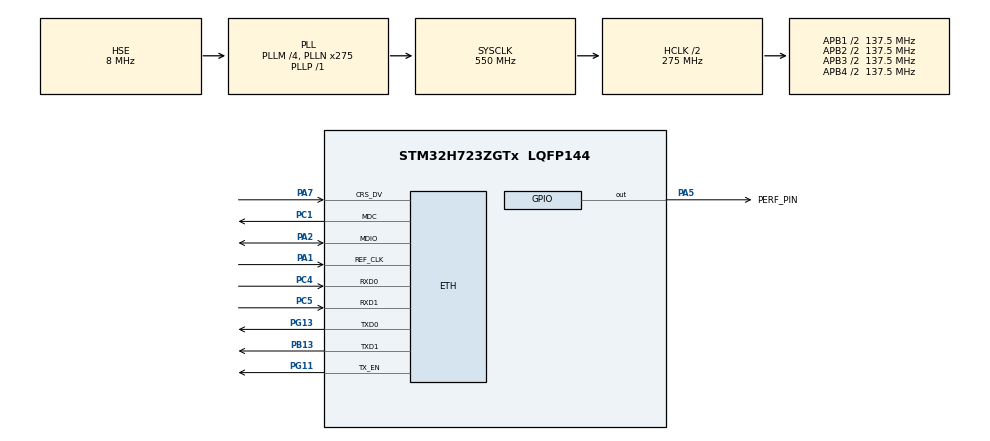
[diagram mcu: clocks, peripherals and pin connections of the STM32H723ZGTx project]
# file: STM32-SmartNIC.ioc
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CORTEX_M7.AccessPermission_S-Cortex_Memory_Protection_Unit_Region1_Settings_S=MPU_REGION_FULL_ACCESS
CORTEX_M7.BaseAddress_S-Cortex_Memory_Protection_Unit_Region1_Settings_S=0x30000000
CORTEX_M7.CPU_DCache=Enabled
CORTEX_M7.CPU_ICache=Enabled
CORTEX_M7.DisableExec_S-Cortex_Memory_Protection_Unit_Region1_Settings_S=MPU_INSTRUCTION_ACCESS_DISABLE
CORTEX_M7.Enable_S-Cortex_Memory_Protection_Unit_Region1_Settings_S=MPU_REGION_ENABLE
CORTEX_M7.Size_S-Cortex_Memory_Protection_Unit_Region1_Settings_S=MPU_REGION_SIZE_32KB
CORTEX_M7.TypeExtField_S-Cortex_Memory_Protection_Unit_Region1_Settings_S=MPU_TEX_LEVEL1
CORTEX_M7.default_mode_Activation=1
ETH.MediaInterface=HAL_ETH_RMII_MODE
Mcu.Family=STM32H7
Mcu.Name=STM32H723ZGTx
Mcu.Package=LQFP144
NUCLEO-H723ZG.BUTTON=1
NUCLEO-H723ZG.LD1=true
NUCLEO-H723ZG.LD2=true
NUCLEO-H723ZG.LD3=true
NUCLEO-H723ZG.VCP=true
NVIC.ETH_IRQn=true\:0\:0\:false\:false\:true\:true\:true\:true
NVIC.EXTI15_10_IRQn=true\:0\:0\:false\:false\:true\:false\:true\:true
NVIC.PriorityGroup=NVIC_PRIORITYGROUP_4
PA1.Mode=RMII
PA1.Signal=ETH_REF_CLK
PA13(JTMS/SWDIO).GPIO_Label=SWDIO
PA13(JTMS/SWDIO).Signal=DEBUG_JTMS-SWDIO
PA14(JTCK/SWCLK).GPIO_Label=SWCLK
PA14(JTCK/SWCLK).Signal=DEBUG_JTCK-SWCLK
PA2.Mode=RMII
PA2.Signal=ETH_MDIO
PA5.GPIO_Label=PERF_PIN
PA5.GPIO_Speed=GPIO_SPEED_FREQ_VERY_HIGH
PA5.Signal=GPIO_Output
PA7.Mode=RMII
PA7.Signal=ETH_CRS_DV
PG11.Mode=RMII
PG11.Signal=ETH_TX_EN
PG13.Mode=RMII
PG13.Signal=ETH_TXD0
PB13.Mode=RMII
PB13.Signal=ETH_TXD1
PC1.Mode=RMII
PC1.Signal=ETH_MDC
PC14-OSC32_IN.Signal=RCC_OSC32_IN
PC15-OSC32_OUT.Signal=RCC_OSC32_OUT
PC4.Mode=RMII
PC4.Signal=ETH_RXD0
PC5.Mode=RMII
PC5.Signal=ETH_RXD1
PD8.Signal=USART3_TX
PD9.Signal=USART3_RX
PH0-OSC_IN.Mode=HSE-External-Oscillator
PH0-OSC_IN.Signal=RCC_OSC_IN
PH1-OSC_OUT.Mode=HSE-External-Oscillator
PH1-OSC_OUT.Signal=RCC_OSC_OUT
ProjectManager.HeapSize=0x200
ProjectManager.StackSize=0x400
ProjectManager.TargetToolchain=STM32CubeIDE
RCC.ADCFreq_Value=76000000
RCC.APB1Freq_Value=137500000
RCC.APB2Freq_Value=137500000
RCC.APB3Freq_Value=137500000
RCC.APB4Freq_Value=137500000
RCC.CortexFreq_Value=550000000
RCC.D1PPRE=RCC_APB3_DIV2
RCC.D2PPRE1=RCC_APB1_DIV2
RCC.D2PPRE2=RCC_APB2_DIV2
RCC.D3PPRE=RCC_APB4_DIV2
RCC.DIVM1=4
RCC.DIVM2=1
RCC.DIVN1=275
RCC.DIVN2=19
RCC.DIVP1=1
RCC.DIVQ1=4
RCC.HCLKFreq_Value=275000000
RCC.HPRE=RCC_HCLK_DIV2
RCC.HSE_VALUE=8000000
RCC.PLLFRACN=0
RCC.PLLSourceVirtual=RCC_PLLSOURCE_HSE
RCC.PWR_Regulator_Voltage_Scale=PWR_REGULATOR_VOLTAGE_SCALE0
RCC.SYSCLKFreq_VALUE=550000000
RCC.SYSCLKSource=RCC_SYSCLKSOURCE_PLLCLK
RCC.USBCLockSelection=RCC_USBCLKSOURCE_HSI48
RCC.USBFreq_Value=48000000
VP_MEMORYMAP_VS_MEMORYMAP.Mode=CurAppReg
VP_NUCLEO-H723ZG_VS_BSP_COMMON.Mode=COMMON
board=NUCLEO-H723ZG

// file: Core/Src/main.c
/* USER CODE BEGIN Header */
/**
  ******************************************************************************
  * @file           : main.c
  * @brief          : Main program body
  ******************************************************************************
  * @attention
  *
  * Copyright (c) 2026 STMicroelectronics.
  * All rights reserved.
  *
  * This software is licensed under terms that can be found in the LICENSE file
  * in the root directory of this software component.
  * If no LICENSE file comes with this software, it is provided AS-IS.
  *
  ******************************************************************************
  */
/* USER CODE END Header */
#include "main.h"
#include "string.h"

/* USER CODE BEGIN Includes */
#include "ring_buffer_test.h"
#include "eth_rx.h"
#include "eth_tx.h"
#include "pkt_reflect.h"
#include "pkt_parse.h"
#include "pkt_filter.h"
#include "filter_policy.h"
#include "perf.h"
#include "uart_log.h"
/* USER CODE END Includes */

/* USER CODE BEGIN PD */
#define STATS_PERIOD_MS   (5000u)   /* how often the filter counters are printed */
#define BUTTON_DEBOUNCE_MS (200u)   /* ignore button bounces closer than this */
/* Most frames one main-loop pass handles before it does its other work
 * (refill, button, stats) and starts a new pass. Without a limit, sustained
 * overload kept main in the RX loop for a whole 10 s burst: the stats print
 * waited, and that pass's 32-bit cycle delta wrapped (Phase 5, step 3b).
 * 16 = the whole pool: at most one full pkt_ring per pass. */
#define MAIN_RX_BUDGET    (ETH_RX_BUF_COUNT)
/* Phase 6: 1 = every UDP frame that passed the filter goes back to its
 * sender (pkt_reflect.c), zero-copy from the same buffer; 0 = consume all
 * frames as before. Build: make ... REFLECT=0 */
#ifndef TX_REFLECT
#define TX_REFLECT        (1)
#endif
/* CPU headroom test: fake work added to every frame, in CPU cycles.
 * 0 = normal firmware. Raise it step by step at line rate until frames
 * are lost: the last value with zero loss = cycles still free per frame. */
#ifndef EXTRA_CYCLES               /* or from the build: -DEXTRA_CYCLES=1000u */
#define EXTRA_CYCLES       (0u)
#endif
/* USER CODE END PD */

#if defined ( __ICCARM__ ) /*!< IAR Compiler */
#pragma location=0x30000000
ETH_DMADescTypeDef  DMARxDscrTab[ETH_RX_DESC_CNT]; /* Ethernet Rx DMA Descriptors */
#pragma location=0x30000080
ETH_DMADescTypeDef  DMATxDscrTab[ETH_TX_DESC_CNT]; /* Ethernet Tx DMA Descriptors */

#elif defined ( __CC_ARM )  /* MDK ARM Compiler */

__attribute__((at(0x30000000))) ETH_DMADescTypeDef  DMARxDscrTab[ETH_RX_DESC_CNT]; /* Ethernet Rx DMA Descriptors */
__attribute__((at(0x30000080))) ETH_DMADescTypeDef  DMATxDscrTab[ETH_TX_DESC_CNT]; /* Ethernet Tx DMA Descriptors */

#elif defined ( __GNUC__ ) /* GNU Compiler */

ETH_DMADescTypeDef DMARxDscrTab[ETH_RX_DESC_CNT] __attribute__((section(".RxDescripSection"))); /* Ethernet Rx DMA Descriptors */
ETH_DMADescTypeDef DMATxDscrTab[ETH_TX_DESC_CNT] __attribute__((section(".TxDescripSection")));   /* Ethernet Tx DMA Descriptors */
#endif

ETH_TxPacketConfig TxConfig;

COM_InitTypeDef BspCOMInit;

ETH_HandleTypeDef heth;

/* USER CODE BEGIN PV */
/* Rule table (filter_policy.c) + counters. Used only by the main loop. */
static pkt_filter_t filter;

/* Per-frame log switch. printf at 115200 costs ~7 ms per line, far more than
 * the filter itself, so it must be off when measuring. The USER button toggles
 * it at runtime; the stats line every STATS_PERIOD_MS is always printed.
 * The ISR only raises a flag; the main loop does the toggle and the printing. */
static volatile uint8_t button_pressed;   /* set by the button ISR, cleared by main */
static uint8_t log_frames = 1u;           /* 1 = print one line per frame (yellow LED on) */

/* CPU cycles spent in pkt_filter_process() per frame (parse + all filter
 * stages), collected over one stats period and printed with the stats. */
static perf_stats_t filter_cycles;

/* The same cost split by the path the frame took through the filter, since
 * boot (never reset), so each scenario's frame types can be told apart:
 *   path_reason[r]  dropped before any rule matched (malformed, bad-checksum,
 *                   spoofed, tcp-scan) or by the default action
 *   path_pass[i]    matched rule i and passed
 *   path_limit[i]   matched rule i and was dropped by its rate limit       */
static perf_stats_t path_reason[DROP_REASON_COUNT];
static perf_stats_t path_pass[POLICY_RULE_COUNT];
static perf_stats_t path_limit[POLICY_RULE_COUNT];

/* Whole cost per frame = ETH ISR time + main-loop RX work (pop, filter,
 * free, refill), summed over one stats period. The main-loop part has the
 * ISR time that interrupted it taken out, so nothing is counted twice. */
static uint64_t main_rx_cycles;    /* main-loop RX work, ISR time removed */
static uint32_t main_rx_frames;    /* frames handled in this period */
static uint32_t irq_mark;          /* eth_rx_irq_count() at period start */
static uint32_t isr_cycles_mark;   /* perf_eth_isr_cycles at period start */
static uint32_t period_start_ms;   /* HAL_GetTick() at period start */

static uint32_t tx_reflected;      /* passed UDP frames sent back (Phase 6) */
/* USER CODE END PV */

void SystemClock_Config(void);
static void MPU_Config(void);
static void MX_GPIO_Init(void);
static void MX_ETH_Init(void);
/* USER CODE BEGIN PFP */
static void log_frame(const pkt_desc_t *pkt, const pkt_hdr_t *hdr, pkt_verdict_t v);
static void print_stats(void);
static void handle_button(void);
static void record_path(pkt_verdict_t v, uint32_t cycles);
static void print_paths(void);
/* USER CODE END PFP */

/* USER CODE BEGIN 0 */
/* Burn exactly 'cycles' CPU cycles (headroom test). Spins on the DWT counter
 * instead of a for-loop count, so the delay stays the same at any -O level. */
static void burn_cycles(uint32_t cycles)
{
  uint32_t start = perf_now();
  while ((perf_now() - start) < cycles)
  {
  }
}

/* Read the cycle counter and the ETH ISR total as one consistent pair.
 * If the ISR fires between the two reads, the pair would not match (ISR
 * time counted on one side only), so read again until no ISR got in. */
static void time_snapshot(uint32_t *now, uint32_t *isr)
{
  uint32_t before;
  do
  {
    before = perf_eth_isr_cycles;
    *now   = perf_now();
    *isr   = perf_eth_isr_cycles;
  } while (*isr != before);
}
/* USER CODE END 0 */

int main(void)
{

  /* MPU Configuration--------------------------------------------------------*/
  MPU_Config();

  /* Enable the CPU Cache */

  /* Enable I-Cache---------------------------------------------------------*/
  SCB_EnableICache();

  /* Enable D-Cache---------------------------------------------------------*/
  SCB_EnableDCache();

  /* MCU Configuration--------------------------------------------------------*/

  /* Reset of all peripherals, Initializes the Flash interface and the Systick. */
  HAL_Init();

  /* Configure the system clock */
  SystemClock_Config();

  /* Initialize all configured peripherals */
  MX_GPIO_Init();
  MX_ETH_Init();

  /* Initialize leds */
  BSP_LED_Init(LED_GREEN);
  BSP_LED_Init(LED_YELLOW);
  BSP_LED_Init(LED_RED);

  /* Initialize USER push-button, will be used to trigger an interrupt each time it's pressed.*/
  BSP_PB_Init(BUTTON_USER, BUTTON_MODE_EXTI);

  /* Initialize COM1 port (115200, 8 bits (7-bit data + 1 stop bit), no parity */
  BspCOMInit.BaudRate   = 115200;
  BspCOMInit.WordLength = COM_WORDLENGTH_8B;
  BspCOMInit.StopBits   = COM_STOPBITS_1;
  BspCOMInit.Parity     = COM_PARITY_NONE;
  BspCOMInit.HwFlowCtl  = COM_HWCONTROL_NONE;
  if (BSP_COM_Init(COM1, &BspCOMInit) != BSP_ERROR_NONE)
  {
    Error_Handler();
  }

  /* Infinite loop */
  /* USER CODE BEGIN WHILE */
  /* From here printf only queues text; the USART3 interrupt sends it
   * (uart_log.c). COM1 (USART3) was just set up by BSP_COM_Init() above. */
  uart_log_init();

#ifdef RB_SELF_TEST
  BSP_LED_On((rb_self_test() == 0u) ? LED_GREEN : LED_RED);
#endif

  /* Start Ethernet RX. Done here (not in USER CODE 2) so the COM port is
   * already up and printf works. Order matters:
   * 1. eth_rx_init() fills the free list,
   * 2. eth_rx_start() -> HAL_ETH_Start_IT() takes 4 buffers for the
   *    descriptors (via HAL_ETH_RxAllocateCallback) and enables the ETH DMA
   *    interrupts; the lean driver then takes the descriptor ring over. */
  if (!pkt_filter_init(&filter, filter_policy, POLICY_RULE_COUNT, POLICY_DEFAULT_ACTION))
  {
    printf("Invalid filter policy\r\n");
    Error_Handler();
  }

  /* Checksum offload: the MAC checks every IPv4 header and TCP/UDP checksum
   * in hardware and reports the result in the RX descriptor. The HAL default
   * (DropTCPIPChecksumErrorPacket = ENABLE) also DROPS the failing frames
   * inside the MAC, before the DMA, without any counter: the firmware never
   * learns they existed. Forward them instead; eth_rx.c passes the MAC's
   * report on with each frame and the filter drops and counts them as
   * "bad-checksum". The MAC config can only change before HAL_ETH_Start_IT(). */
  {
    ETH_MACConfigTypeDef mac_cfg;
    HAL_ETH_GetMACConfig(&heth, &mac_cfg);
    mac_cfg.DropTCPIPChecksumErrorPacket = DISABLE;
    if (HAL_ETH_SetMACConfig(&heth, &mac_cfg) != HAL_OK)
    {
      printf("ETH MAC config failed\r\n");
      Error_Handler();
    }
  }

  eth_rx_init();
  if (!eth_rx_start())   /* HAL_ETH_Start_IT() + lean driver takeover */
  {
    printf("ETH start failed\r\n");
    Error_Handler();
  }
  printf("ETH RX started\r\n");
  eth_tx_init();         /* TX ring: ours from now on (main loop only) */
  printf("ETH TX ready: test frame every %u s (UDP broadcast to port 5001), reflect %s\r\n",
         (unsigned)(STATS_PERIOD_MS / 1000u),
         (TX_REFLECT != 0) ? "ON (passed UDP frames go back to the sender)" : "OFF");
  /* Read back from the RCC registers: proves the PLL really runs (550 MHz). */
  printf("CPU clock: %lu MHz\r\n", (unsigned long)(HAL_RCC_GetSysClockFreq() / 1000000u));
  perf_init();
  perf_reset(&filter_cycles);
  for (uint32_t i = 0u; i < DROP_REASON_COUNT; i++)
  {
    perf_reset(&path_reason[i]);
  }
  for (uint32_t i = 0u; i < POLICY_RULE_COUNT; i++)
  {
    perf_reset(&path_pass[i]);
    perf_reset(&path_limit[i]);
  }
  printf("DWT cycle counter on, measurement overhead %lu cycles\r\n",
         (unsigned long)perf_overhead());
  printf("Headroom test: +%lu extra cycles per frame\r\n", (unsigned long)EXTRA_CYCLES);
  printf("RX mode: %s, %s driver, %s IRQ handler\r\n",
         (ETH_RX_NAPI != 0) ? "NAPI polling" : "interrupt per frame",
         (ETH_RX_LEAN != 0) ? "lean" : "HAL",
         (ETH_RX_OWN_IRQ != 0) ? "own" : "HAL");
  printf("Per-frame log ON (USER button toggles)\r\n");
  BSP_LED_On(LED_YELLOW);

  while (1)
  {

    /* USER CODE END WHILE */

    /* USER CODE BEGIN 3 */
    static uint32_t last_stats_ms;
    pkt_desc_t pkt;
    pkt_hdr_t  hdr;

    /* Start of the main-loop RX work (whole-cost measurement). */
    uint32_t work_t0, work_isr;
    time_snapshot(&work_t0, &work_isr);
    uint32_t frames_now = 0u;   /* frames handled in this loop pass */

    /* NAPI mode: main reads the finished frames from the DMA itself (up to
     * a budget) into the packet ring. Inside the timed window, so the HAL
     * time that moved out of the ISR is still counted. */
    (void)eth_rx_poll(ETH_RX_POLL_BUDGET);

    /* Consumer side: take the queued frames (at most MAIN_RX_BUDGET, so the
     * rest of the loop still runs under overload), then give each buffer
     * back. Budget checked FIRST, so no frame is popped and then skipped;
     * frames left over stay in pkt_ring for the next pass. */
    while ((frames_now < MAIN_RX_BUDGET) && eth_rx_pop(&pkt))
    {
      frames_now++;
      /* Parse, drop if malformed or the MAC reported a checksum error, else
       * run the rules. Counters are updated inside. HAL_GetTick() is read
       * before the timer starts so only the filter itself is measured. */
      uint32_t now_ms = HAL_GetTick();
      uint32_t t0 = perf_now();
      /* PERF_PIN (PA5, D13) is HIGH while the filter runs: a logic analyzer
       * measures the pulse width from outside, to cross-check the DWT number.
       * BSRR is written directly (one store, set = low 16 bits, reset = high
       * 16 bits) instead of HAL_GPIO_WritePin(), so the pin edges add almost
       * nothing to what is measured. */
      PERF_PIN_GPIO_Port->BSRR = PERF_PIN_Pin;
      pkt_verdict_t v = pkt_filter_process(&filter, pkt.data, pkt.len, pkt.flags,
                                           now_ms, &hdr);
      PERF_PIN_GPIO_Port->BSRR = (uint32_t)PERF_PIN_Pin << 16;
      uint32_t cycles = perf_now() - t0;
      perf_record(&filter_cycles, cycles);
      record_path(v, cycles);
      /* Headroom test: pretend the filter is heavier. Outside the DWT window
       * so the filter numbers stay clean; before the buffer is freed, like
       * real extra work would be. */
      if (EXTRA_CYCLES != 0u)
      {
        burn_cycles(EXTRA_CYCLES);
      }

      if (log_frames != 0u)
      {
        log_frame(&pkt, &hdr, v);
      }

      /* Phase 6 reflect, zero-copy: a passed UDP frame is rewritten in place
       * (after the log, which shows it as received) and the SAME buffer goes
       * to the TX DMA. It then belongs to TX: eth_tx_reclaim() gives it
       * back to the pool once sent. TX ring full: dropped, counted as tx
       * busy, freed below like any other frame. */
      bool to_tx = false;
      if ((TX_REFLECT != 0) && (v.action == PKT_PASS) &&
          pkt_reflect_udp(pkt.data, pkt.len, &hdr, heth.Init.MACAddr, POLICY_BOARD_IP))
      {
        to_tx = eth_tx_send(pkt.data, pkt.len);
        if (to_tx)
        {
          tx_reflected++;
        }
      }

      /* Every other buffer goes back now, even for a dropped frame, or the
       * pool leaks. */
      if (!to_tx)
      {
        eth_rx_buf_free(pkt.data);
      }
    }

    /* Collect sent frames: their buffers return to the pool, and the TX
     * descriptors are free again. Inside the timed window: TX work is part
     * of the cost of a frame now. */
    (void)eth_tx_reclaim();

    /* Buffers were just freed: hand them to any RX descriptor left without
     * one, and wake the DMA if it stopped (see eth_rx_refill()). */
    eth_rx_refill();

    /* End of the RX work: elapsed time minus the ISR time that cut into it.
     * Only passes that handled frames count: an empty pass is idle polling
     * (the CPU waiting for work), not a cost of any frame. */
    uint32_t work_t1, work_isr1;
    time_snapshot(&work_t1, &work_isr1);
    if (frames_now != 0u)
    {
      main_rx_cycles += (work_t1 - work_t0) - (work_isr1 - work_isr);
      main_rx_frames += frames_now;
    }

    handle_button();
    eth_rx_poll_hw();   /* collect the MAC's clear-on-read drop counters */
    (void)eth_tx_reclaim();   /* also when idle: the last frames of a burst */

    /* Unsigned subtraction stays correct when HAL_GetTick() wraps at 2^32. */
    if ((HAL_GetTick() - last_stats_ms) >= STATS_PERIOD_MS)
    {
      last_stats_ms = HAL_GetTick();
      print_stats();
      /* Phase 6 step 1: one test frame per stats period proves TX works. */
      static uint32_t tx_test_seq;
      if (eth_tx_send_test(tx_test_seq))
      {
        tx_test_seq++;
      }
    }
  }
  /* USER CODE END 3 */
}

void SystemClock_Config(void)
{
  RCC_OscInitTypeDef RCC_OscInitStruct = {0};
  RCC_ClkInitTypeDef RCC_ClkInitStruct = {0};

  /** Supply configuration update enable
  */
  HAL_PWREx_ConfigSupply(PWR_LDO_SUPPLY);

  /** Configure the main internal regulator output voltage
  */
  __HAL_PWR_VOLTAGESCALING_CONFIG(PWR_REGULATOR_VOLTAGE_SCALE0);

  while(!__HAL_PWR_GET_FLAG(PWR_FLAG_VOSRDY)) {}

  /** Initializes the RCC Oscillators according to the specified parameters
  * in the RCC_OscInitTypeDef structure.
  */
  RCC_OscInitStruct.OscillatorType = RCC_OSCILLATORTYPE_HSE;
  RCC_OscInitStruct.HSEState = RCC_HSE_ON;
  RCC_OscInitStruct.PLL.PLLState = RCC_PLL_ON;
  RCC_OscInitStruct.PLL.PLLSource = RCC_PLLSOURCE_HSE;
  RCC_OscInitStruct.PLL.PLLM = 4;
  RCC_OscInitStruct.PLL.PLLN = 275;
  RCC_OscInitStruct.PLL.PLLP = 1;
  RCC_OscInitStruct.PLL.PLLQ = 4;
  RCC_OscInitStruct.PLL.PLLR = 2;
  RCC_OscInitStruct.PLL.PLLRGE = RCC_PLL1VCIRANGE_1;
  RCC_OscInitStruct.PLL.PLLVCOSEL = RCC_PLL1VCOWIDE;
  RCC_OscInitStruct.PLL.PLLFRACN = 0;
  if (HAL_RCC_OscConfig(&RCC_OscInitStruct) != HAL_OK)
  {
    Error_Handler();
  }

  /** Initializes the CPU, AHB and APB buses clocks
  */
  RCC_ClkInitStruct.ClockType = RCC_CLOCKTYPE_HCLK|RCC_CLOCKTYPE_SYSCLK
                              |RCC_CLOCKTYPE_PCLK1|RCC_CLOCKTYPE_PCLK2
                              |RCC_CLOCKTYPE_D3PCLK1|RCC_CLOCKTYPE_D1PCLK1;
  RCC_ClkInitStruct.SYSCLKSource = RCC_SYSCLKSOURCE_PLLCLK;
  RCC_ClkInitStruct.SYSCLKDivider = RCC_SYSCLK_DIV1;
  RCC_ClkInitStruct.AHBCLKDivider = RCC_HCLK_DIV2;
  RCC_ClkInitStruct.APB3CLKDivider = RCC_APB3_DIV2;
  RCC_ClkInitStruct.APB1CLKDivider = RCC_APB1_DIV2;
  RCC_ClkInitStruct.APB2CLKDivider = RCC_APB2_DIV2;
  RCC_ClkInitStruct.APB4CLKDivider = RCC_APB4_DIV2;

  if (HAL_RCC_ClockConfig(&RCC_ClkInitStruct, FLASH_LATENCY_3) != HAL_OK)
  {
    Error_Handler();
  }
}

static void MX_ETH_Init(void)
{

   static uint8_t MACAddr[6];

  heth.Instance = ETH;
  MACAddr[0] = 0x00;
  MACAddr[1] = 0x80;
  MACAddr[2] = 0xE1;
  MACAddr[3] = 0x00;
  MACAddr[4] = 0x00;
  MACAddr[5] = 0x00;
  heth.Init.MACAddr = &MACAddr[0];
  heth.Init.MediaInterface = HAL_ETH_RMII_MODE;
  heth.Init.TxDesc = DMATxDscrTab;
  heth.Init.RxDesc = DMARxDscrTab;
  heth.Init.RxBuffLen = 1536;

  if (HAL_ETH_Init(&heth) != HAL_OK)
  {
    Error_Handler();
  }

  memset(&TxConfig, 0 , sizeof(ETH_TxPacketConfig));
  TxConfig.Attributes = ETH_TX_PACKETS_FEATURES_CSUM | ETH_TX_PACKETS_FEATURES_CRCPAD;
  TxConfig.ChecksumCtrl = ETH_CHECKSUM_IPHDR_PAYLOAD_INSERT_PHDR_CALC;
  TxConfig.CRCPadCtrl = ETH_CRC_PAD_INSERT;

}

static void MX_GPIO_Init(void)
{
  GPIO_InitTypeDef GPIO_InitStruct = {0};

  /* GPIO Ports Clock Enable */
  __HAL_RCC_GPIOC_CLK_ENABLE();
  __HAL_RCC_GPIOH_CLK_ENABLE();
  __HAL_RCC_GPIOA_CLK_ENABLE();
  __HAL_RCC_GPIOB_CLK_ENABLE();

  /*Configure GPIO pin Output Level */
  HAL_GPIO_WritePin(PERF_PIN_GPIO_Port, PERF_PIN_Pin, GPIO_PIN_RESET);

  /*Configure GPIO pin : PERF_PIN_Pin */
  GPIO_InitStruct.Pin = PERF_PIN_Pin;
  GPIO_InitStruct.Mode = GPIO_MODE_OUTPUT_PP;
  GPIO_InitStruct.Pull = GPIO_NOPULL;
  GPIO_InitStruct.Speed = GPIO_SPEED_FREQ_VERY_HIGH;
  HAL_GPIO_Init(PERF_PIN_GPIO_Port, &GPIO_InitStruct);

}

/* USER CODE BEGIN 4 */
/** USER button ISR (overrides the weak BSP version). Keep it tiny: just a flag. */
void BSP_PB_Callback(Button_TypeDef Button)
{
  if (Button == BUTTON_USER)
  {
    button_pressed = 1u;
  }
}

/** Main-loop side of the button: debounce, flip the log switch, report it. */
static void handle_button(void)
{
  static uint32_t last_press_ms;

  if (button_pressed == 0u)
  {
    return;
  }
  button_pressed = 0u;

  /* A mechanical button bounces: one press can fire several interrupts. */
  if ((HAL_GetTick() - last_press_ms) < BUTTON_DEBOUNCE_MS)
  {
    return;
  }
  last_press_ms = HAL_GetTick();

  log_frames ^= 1u;
  if (log_frames != 0u)
  {
    BSP_LED_On(LED_YELLOW);
  }
  else
  {
    BSP_LED_Off(LED_YELLOW);
  }
  printf("Per-frame log %s\r\n", (log_frames != 0u) ? "ON" : "OFF");
}

/** Print one line per frame: what it is and what the filter decided. */
static void log_frame(const pkt_desc_t *pkt, const pkt_hdr_t *hdr, pkt_verdict_t v)
{
  printf("RX %4u  ", (unsigned)pkt->len);

  if ((hdr->valid & PKT_HAS_IPV4) != 0u)
  {
    printf("IPv4 %u.%u.%u.%u -> %u.%u.%u.%u p%u",
           (unsigned)(hdr->src_ip >> 24), (unsigned)((hdr->src_ip >> 16) & 0xFFu),
           (unsigned)((hdr->src_ip >> 8) & 0xFFu), (unsigned)(hdr->src_ip & 0xFFu),
           (unsigned)(hdr->dst_ip >> 24), (unsigned)((hdr->dst_ip >> 16) & 0xFFu),
           (unsigned)((hdr->dst_ip >> 8) & 0xFFu), (unsigned)(hdr->dst_ip & 0xFFu),
           (unsigned)hdr->ip_proto);

    if ((hdr->valid & PKT_HAS_L4) != 0u)
    {
      printf(" %u->%u", (unsigned)hdr->src_port, (unsigned)hdr->dst_port);

      if (hdr->ip_proto == IP_PROTO_TCP)
      {
        printf(" flags 0x%02X", (unsigned)hdr->tcp_flags);
      }
    }
  }
  else if ((hdr->valid & PKT_HAS_ETH) != 0u)
  {
    printf("type 0x%04X", (unsigned)hdr->ethertype);
  }
  else
  {
    printf("too short");
  }

  /* The MAC's checksum offload report (eth_rx.c), if it found an error. */
  if ((pkt->flags & PKT_FLAG_IP_HDR_ERR) != 0u)
  {
    printf("  [hw: ip-hdr]");
  }
  if ((pkt->flags & PKT_FLAG_IP_PAYLOAD_ERR) != 0u)
  {
    printf("  [hw: payload]");
  }

  const char *verdict = (v.action == PKT_PASS) ? "PASS" : "DROP";

  if (v.rule_idx >= 0)
  {
    /* A rate-limit drop also has a rule: say which rule and why. */
    printf("  => %s (%s%s)\r\n", verdict, filter_policy_rule_name(v.rule_idx),
           (v.reason == DROP_REASON_RATE_LIMIT) ? ", rate-limit" : "");
  }
  else if (v.action == PKT_PASS)
  {
    printf("  => %s (default)\r\n", verdict);
  }
  else
  {
    /* malformed, bad-checksum, spoofed, tcp-scan or default */
    printf("  => %s (%s)\r\n", verdict, pkt_drop_reason_name(v.reason));
  }
}

/** Print the filter counters: totals, drops per reason, hits per rule. */
static void print_stats(void)
{
  printf("--- passed %lu | dropped:", (unsigned long)filter.passed);

  for (uint32_t r = DROP_REASON_NONE + 1u; r < DROP_REASON_COUNT; r++)
  {
    printf(" %s %lu", pkt_drop_reason_name((pkt_drop_reason_t)r), (unsigned long)filter.dropped[r]);
  }

  printf(" | hits:");
  for (uint32_t i = 0u; i < filter.rule_count; i++)
  {
    printf(" %s:%lu", filter_policy_rule_name((int32_t)i), (unsigned long)filter.rule_hits[i]);
  }

  printf(" default:%lu ---\r\n", (unsigned long)filter.default_hits);

  /* Hardware view: frames the MAC took off the wire vs. frames the filter
   * saw. MAC counts unicast only, so broadcasts (DHCP) appear only in "seen". */
  eth_rx_stats_t hw;
  eth_rx_get_stats(&hw);
  uint32_t seen = filter.passed;
  for (uint32_t r = 0u; r < DROP_REASON_COUNT; r++)
  {
    seen += filter.dropped[r];
  }
  printf("--- hw: mac rx unicast %lu | filter saw %lu | fifo-overflow %lu"
         " dma-missed %lu | rbu %lu refills %lu | free bufs %lu/%u"
         " (low: period %lu, ever %lu, empty %lu) | log-drop %lu ---\r\n",
         (unsigned long)hw.mac_rx_good, (unsigned long)seen,
         (unsigned long)hw.fifo_overflow, (unsigned long)hw.dma_missed,
         (unsigned long)hw.rbu_events, (unsigned long)hw.refills,
         (unsigned long)hw.free_bufs,
         (unsigned)ETH_RX_BUF_COUNT, (unsigned long)eth_rx_take_period_low(),
         (unsigned long)hw.free_low, (unsigned long)hw.pool_empty,
         (unsigned long)uart_log_dropped());

  /* TX (Phase 6): handed to the DMA / finished / refused (ring full) /
   * finished with an error / still owned by the DMA. */
  eth_tx_stats_t tx;
  eth_tx_get_stats(&tx);
  printf("--- tx: reflected %lu | sent %lu done %lu | busy %lu errors %lu | in flight %lu ---\r\n",
         (unsigned long)tx_reflected,
         (unsigned long)tx.sent, (unsigned long)tx.done, (unsigned long)tx.busy,
         (unsigned long)tx.errors, (unsigned long)tx.in_flight);

  /* Filter cost per frame over the last period, then start a new period. */
  if (filter_cycles.count == 0u)
  {
    printf("--- filter cycles: no frames ---\r\n");
  }
  else
  {
    uint32_t avg = (uint32_t)(filter_cycles.sum / filter_cycles.count);
    printf("--- filter cycles/frame (%lu frames): min %lu avg %lu max %lu"
           " = avg %lu ns ---\r\n",
           (unsigned long)filter_cycles.count, (unsigned long)filter_cycles.min,
           (unsigned long)avg, (unsigned long)filter_cycles.max,
           (unsigned long)perf_cycles_to_ns(avg));
    print_paths();   /* only when something new arrived, to keep the log short */
  }
  perf_reset(&filter_cycles);

  /* Whole cost per frame (ISR + main loop) and how busy the CPU was. */
  uint32_t now_ms     = HAL_GetTick();
  uint32_t isr_now    = perf_eth_isr_cycles;
  uint64_t isr_cycles = (uint32_t)(isr_now - isr_cycles_mark);
  uint64_t period_cycles = (uint64_t)(now_ms - period_start_ms) * (SystemCoreClock / 1000u);
  if ((main_rx_frames != 0u) && (period_cycles != 0u))
  {
    uint32_t isr_pf  = (uint32_t)(isr_cycles / main_rx_frames);
    uint32_t main_pf = (uint32_t)(main_rx_cycles / main_rx_frames);
    uint32_t busy_pct = (uint32_t)(((isr_cycles + main_rx_cycles) * 100u) / period_cycles);
    printf("--- whole cost/frame (%lu frames): isr %lu + main %lu = %lu cycles"
           " | cpu busy on rx %lu%% ---\r\n",
           (unsigned long)main_rx_frames, (unsigned long)isr_pf,
           (unsigned long)main_pf, (unsigned long)(isr_pf + main_pf),
           (unsigned long)busy_pct);
    /* Batching: how many frames one RX interrupt paid for this period. */
    uint32_t irqs = eth_rx_irq_count() - irq_mark;
    printf("--- rx irqs %lu | frames per irq %lu ---\r\n", (unsigned long)irqs,
           (unsigned long)((irqs != 0u) ? (main_rx_frames / irqs) : 0u));
  }
  irq_mark = eth_rx_irq_count();
  main_rx_cycles  = 0u;
  main_rx_frames  = 0u;
  isr_cycles_mark = isr_now;
  period_start_ms = now_ms;
}

/** Add one frame's cost to the stats of the path it took. */
static void record_path(pkt_verdict_t v, uint32_t cycles)
{
  if ((v.rule_idx >= 0) && (v.rule_idx < (int32_t)POLICY_RULE_COUNT))
  {
    perf_record((v.reason == DROP_REASON_RATE_LIMIT) ? &path_limit[v.rule_idx]
                                                     : &path_pass[v.rule_idx],
                cycles);
  }
  else if ((uint32_t)v.reason < DROP_REASON_COUNT)
  {
    perf_record(&path_reason[v.reason], cycles);
  }
}

static void print_one_path(const char *name, const char *suffix, const perf_stats_t *s)
{
  if (s->count == 0u)
  {
    return;
  }
  uint32_t avg = (uint32_t)(s->sum / s->count);
  printf("    path %-12s%-12s n=%-5lu min %5lu avg %5lu max %5lu cycles = avg %5lu ns\r\n",
         name, suffix, (unsigned long)s->count, (unsigned long)s->min,
         (unsigned long)avg, (unsigned long)s->max,
         (unsigned long)perf_cycles_to_ns(avg));
}

/** Cycles per frame for every path seen since boot. */
static void print_paths(void)
{
  printf("--- cycles by path (since boot) ---\r\n");
  for (uint32_t r = 0u; r < DROP_REASON_COUNT; r++)
  {
    print_one_path((r == DROP_REASON_NONE) ? "pass" : pkt_drop_reason_name((pkt_drop_reason_t)r),
                   "", &path_reason[r]);
  }
  for (uint32_t i = 0u; i < POLICY_RULE_COUNT; i++)
  {
    print_one_path(filter_policy_rule_name((int32_t)i), "pass", &path_pass[i]);
    print_one_path(filter_policy_rule_name((int32_t)i), "rate-limit", &path_limit[i]);
  }
}
/* USER CODE END 4 */

 /* MPU Configuration */

void MPU_Config(void)
{
  MPU_Region_InitTypeDef MPU_InitStruct = {0};

  /* Disables the MPU */
  HAL_MPU_Disable();

  /** Initializes and configures the Region and the memory to be protected
  */
  MPU_InitStruct.Enable = MPU_REGION_ENABLE;
  MPU_InitStruct.Number = MPU_REGION_NUMBER0;
  MPU_InitStruct.BaseAddress = 0x0;
  MPU_InitStruct.Size = MPU_REGION_SIZE_4GB;
  MPU_InitStruct.SubRegionDisable = 0x87;
  MPU_InitStruct.TypeExtField = MPU_TEX_LEVEL0;
  MPU_InitStruct.AccessPermission = MPU_REGION_NO_ACCESS;
  MPU_InitStruct.DisableExec = MPU_INSTRUCTION_ACCESS_DISABLE;
  MPU_InitStruct.IsShareable = MPU_ACCESS_SHAREABLE;
  MPU_InitStruct.IsCacheable = MPU_ACCESS_NOT_CACHEABLE;
  MPU_InitStruct.IsBufferable = MPU_ACCESS_NOT_BUFFERABLE;

  HAL_MPU_ConfigRegion(&MPU_InitStruct);

  /** Initializes and configures the Region and the memory to be protected
  */
  MPU_InitStruct.Number = MPU_REGION_NUMBER1;
  MPU_InitStruct.BaseAddress = 0x30000000;
  MPU_InitStruct.Size = MPU_REGION_SIZE_32KB;
  MPU_InitStruct.SubRegionDisable = 0x0;
  MPU_InitStruct.TypeExtField = MPU_TEX_LEVEL1;
  MPU_InitStruct.AccessPermission = MPU_REGION_FULL_ACCESS;
  MPU_InitStruct.IsShareable = MPU_ACCESS_NOT_SHAREABLE;

  HAL_MPU_ConfigRegion(&MPU_InitStruct);
  /* Enables the MPU */
  HAL_MPU_Enable(MPU_PRIVILEGED_DEFAULT);

}

void Error_Handler(void)
{
  __disable_irq();
  while (1)
  {
  }
}
